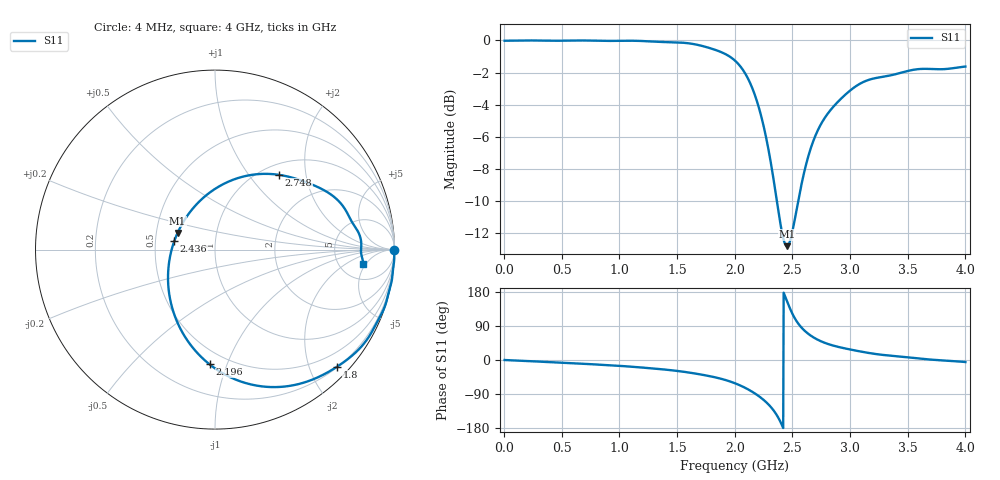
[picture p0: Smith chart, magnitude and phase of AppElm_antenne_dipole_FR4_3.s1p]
! TOUCHSTONE file generated by CST MICROWAVE STUDIO
! Date and time: Thu May 12 17:57:31 2022
! Project name: AppElm_antenne_dipole_FR4.cst
! Parameters = {L=38.8; e=0.035; f=2.45e+09; h=1.6; i=0.8; l1=4; lambda=122.449; ls=30; wl=1.7; ws=68}
! Header version: 2018
! Port assignment regex: !\s*Touchstone port\s*([0-9]+)\s*=\s*(CST MWS port|CST DS port)\s*([0-9]+|Zmin|Zmax)\s*\(\"(.*)\"\)(\s*mode\s*([0-9]+))?.*
! Touchstone port assignment:
! Touchstone port 1 = CST MWS port 1 ("")
# GHz S MA R 50
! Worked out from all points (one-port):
!   1000 points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, 4 MHz to 4 GHz, reference 50 ohm
!   lowest |S11| = -12.8 dB at 2.452 GHz (marker M1), VSWR 1.59, Z = 32.2 + j6.29 ohm
!   |S11| at or under -10 dB: 2.365 GHz to 2.55 GHz (185.4 MHz wide, 7.55 % of centre)
!   S11 on the Smith chart (normalised r, x): 4 MHz: open; 1.8 GHz: 0.21, -2.48; 2.196 GHz: 0.40, -0.87; 2.436 GHz: 0.63, +0.06; 2.748 GHz: 1.19, +1.42; 4 GHz: 8.57, -4.25
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0.004  0.998 -0.1
0.504  0.9982 -7.0
1.004  0.9973 -15.5
1.228  0.9948 -20.7
1.504  0.986 -28.9
1.652  0.973 -35.5
1.8  0.9426 -43.7
1.912  0.9094 -52.1
2.004  0.8638 -61.6
2.108  0.7688 -76.3
2.152  0.7102 -83.9
2.196  0.6402 -92.7
2.264  0.5137 -109.0
2.324  0.3932 -128.1
2.38  0.2913 -153.7
2.436  0.232 168.5
2.452  0.2284 156.1
2.504  0.2581 119.4
2.56  0.3297 92.3
2.616  0.4073 74.4
2.676  0.4804 60.9
2.748  0.5488 49.3
2.856  0.622 37.8
3.004  0.6998 27.5
3.184  0.7578 17.5
3.504  0.8039 7.0
3.704  0.8147 0.9
4  0.8291 -5.4
